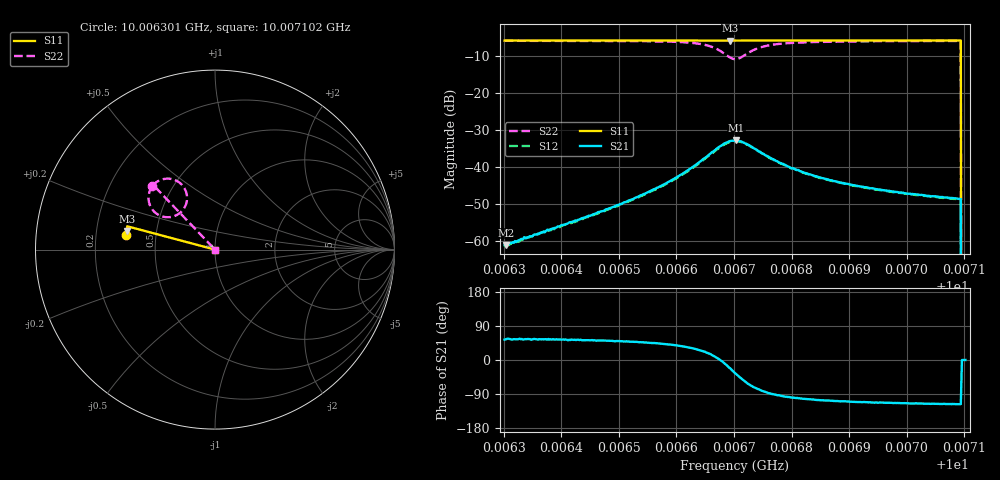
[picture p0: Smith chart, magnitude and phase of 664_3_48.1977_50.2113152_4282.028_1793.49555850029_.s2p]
#  HZ  S  RI  R  50.00
! Rohde & Schwarz Vector Network Analyzer
! Rohde-Schwarz,ZNB20-2Port,1311601062101988,3.16
! Created: UTC 3/20/2024, 12:05:52 PM
! freq[Hz]  re:S11  im:S11  re:S21  im:S21  re:S12  im:S12  re:S22  im:S22
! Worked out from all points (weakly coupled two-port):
!   401 points, 10.006301 GHz to 10.007102 GHz, reference 50 ohm
!   highest |S21| = -32.90 dB at 10.006704 GHz (marker M1); lowest = -61.2 dB at 10.006303 GHz (marker M2)
!   lowest |S11| = -6.0 dB at 10.006694 GHz (marker M3), VSWR 3.02, Z = 16.7 + j4.68 ohm
!   |S11| at or under -10 dB: 10.007094 GHz to end of sweep
!   |S22| runs from - to -6.0 dB; largest |S21 - S12| = 0.0019
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1.00063011e10  -0.4975 0.0795  0.000514 0.000705  0.000457 0.000734  -0.3503 0.3566
1.00063031e10  -0.4975 0.0797  0.000506 0.00071  0.00045 0.000713  -0.3499 0.3567
1.00064353e10  -0.4961 0.0884  0.00123 0.00159  0.00111 0.00163  -0.3356 0.3696
1.00064954e10  -0.4956 0.0923  0.0019 0.00228  0.00174 0.00232  -0.3248 0.3774
1.00065695e10  -0.4947 0.0973  0.00384 0.00367  0.00358 0.00377  -0.2999 0.3893
1.00066156e10  -0.4939 0.1005  0.00697 0.00484  0.00656 0.00505  -0.266 0.3954
1.00066497e10  -0.4929 0.1028  0.0121 0.00493  0.0116 0.00536  -0.2158 0.3844
1.00066717e10  -0.492 0.104  0.0178 0.00133  0.0171 0.00227  -0.1704 0.3423
1.00066837e10  -0.4915 0.1042  0.0203 -0.00327  0.0199 -0.00196  -0.1559 0.2947
1.00066937e10  -0.4912 0.1045  0.0205 -0.00851  0.0205 -0.00691  -0.1641 0.2459
1.00067017e10  -0.4914 0.1045  0.0186 -0.0128  0.0192 -0.0111  -0.1881 0.2107
1.00067037e10  -0.4914 0.1045  0.0181 -0.0136  0.0186 -0.012  -0.1963 0.2036
1.00067218e10  -0.4917 0.1051  0.0103 -0.0176  0.0113 -0.0165  -0.2779 0.1813
1.00067358e10  -0.4922 0.1059  0.0052 -0.0167  0.00631 -0.0163  -0.3241 0.1994
1.00067498e10  -0.4924 0.107  0.0021 -0.0148  0.00292 -0.0147  -0.3498 0.2242
1.00067959e10  -0.4923 0.1103  -0.00131 -0.00983  -0.000742 -0.00974  -0.3704 0.2833
1.0006836e10  -0.4919 0.113  -0.00188 -0.00743  -0.00148 -0.00743  -0.3684 0.3091
1.00068921e10  -0.4912 0.1167  -0.00194 -0.0056  -0.00168 -0.00566  -0.3621 0.3293
1.00069702e10  -0.4903 0.1218  -0.00185 -0.00433  -0.00161 -0.00432  -0.3543 0.3451
1.00070904e10  -0.4885 0.1295  -0.00164 -0.00328  -0.00144 -0.00333  -0.3445 0.3594
1.00071004e10  0 0  0 0  0 0  0 0
1.00071024e10  0 0  0 0  0 0  0 0
